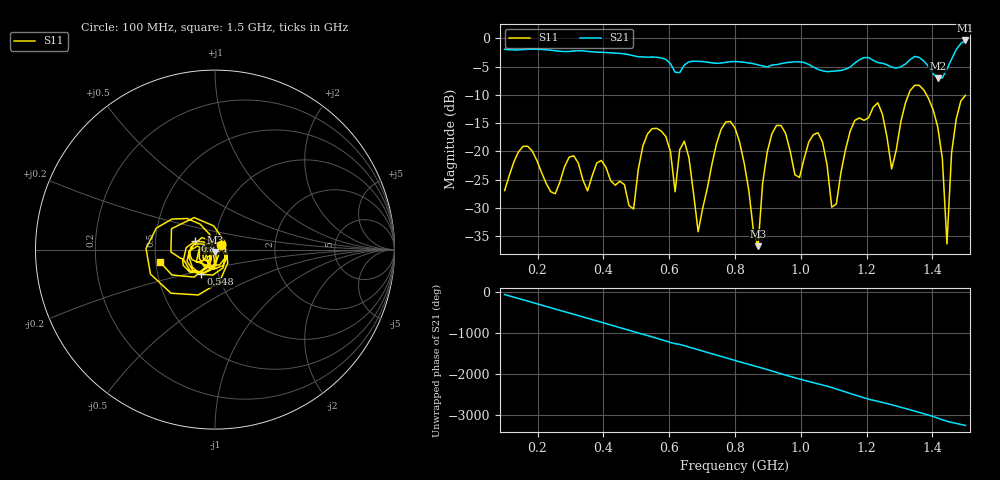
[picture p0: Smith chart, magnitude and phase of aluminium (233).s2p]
! NanoVNA-App
! Date: 2025-09-25 14:57:05
! Start: 100MHz Stop: 1,5GHz Points: 101
! S-Parameter data: F S11 S21 S12 S22
# Hz S RI R 50
!  Frequency  S11_Real  S11_Imag  S21_Real  S21_Imag  S12_Real  S12_Imag  S22_Real  S22_Imag
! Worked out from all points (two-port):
!   101 points, 100 MHz to 1.5 GHz, reference 50 ohm
!   highest |S21| = -0.36 dB at 1.5 GHz (marker M1); lowest = -7.1 dB at 1.416 GHz (marker M2)
!   |S21| within 3 dB of the highest: start of sweep to 565.4 MHz; 1.461 GHz to end of sweep (the widest 2 of 3)
!   lowest |S11| = -36.8 dB at 870 MHz (marker M3), VSWR 1.03, Z = 49.8 - j1.43 ohm
!   |S11| at or under -10 dB: start of sweep to 1.327 GHz; 1.382 GHz to end of sweep
!   S12 and S22 are empty: the file has one direction only
!   S11 on the Smith chart (normalised r, x): 100 MHz: 1.07, +0.06; 548 MHz: 0.82, -0.23; 814 MHz: 0.80, +0.07; 1.5 GHz: 0.53, -0.08
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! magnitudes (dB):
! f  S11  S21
! 100 MHz  -27.0  -1.9
! 338 MHz  -25.1  -2.2
! 492 MHz  -30.2  -3.1
! 548 MHz  -16.0  -3.3
! 576 MHz  -16.4  -3.5
! 618 MHz  -27.2  -6.0
! 646 MHz  -18.2  -4.7
! 688 MHz  -34.2  -4.1
! 800 MHz  -15.9  -4.1
! 814 MHz  -18.4  -4.1
! 870 MHz  -36.8  -4.7
! 912 MHz  -16.9  -4.7
! 996 MHz  -24.6  -4.1
! 1.038 GHz  -17.1  -5.1
! 1.094 GHz  -29.9  -5.8
! 1.234 GHz  -11.4  -4.3
! 1.276 GHz  -23.1  -5.1
! 1.346 GHz  -8.3  -3.2
! 1.416 GHz  -15.7  -7.1
! 1.444 GHz  -36.4  -5.4
! 1.458 GHz  -20.3  -3.7
! 1.5 GHz  -10.1  -0.4
